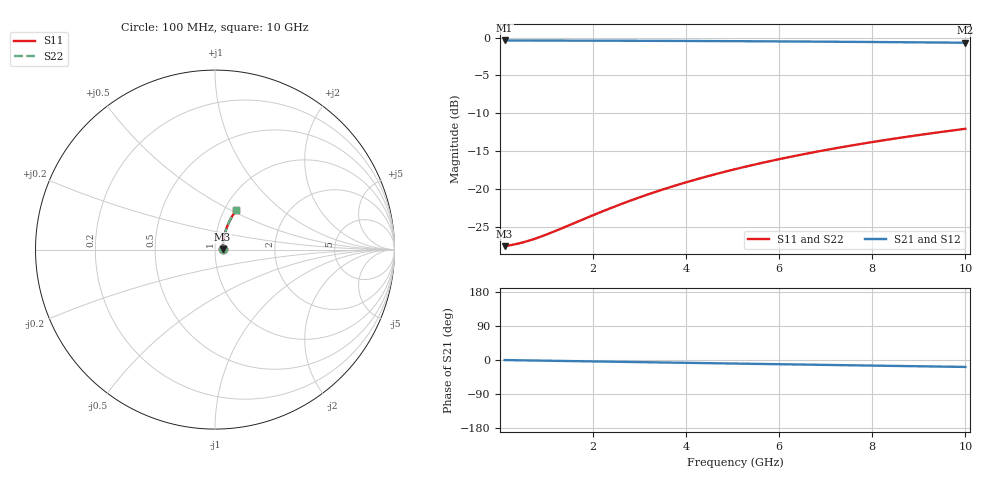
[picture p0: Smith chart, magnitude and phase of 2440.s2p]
# Hz S RI R 50.00
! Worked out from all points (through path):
!   100 points, 100 MHz to 10 GHz, reference 50 ohm
!   highest |S21| = -0.37 dB at 100 MHz (marker M1); lowest = -0.7 dB at 10 GHz (marker M2)
!   group delay of S21, straight-line fit = 5.09 ps
!   lowest |S11| = -27.6 dB at 100 MHz (marker M3), VSWR 1.09, Z = 54.4 + j0.264 ohm
!   |S11| at or under -10 dB: start of sweep to end of sweep
!   |S22| runs from -27.6 to -12.0 dB; largest |S21 - S12| = 0
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1e8  0.0418 0.00242  0.9582 -0.00313  0.9582 -0.00313  0.0418 0.00242
3e8  0.0424 0.00727  0.9576 -0.00937  0.9576 -0.00937  0.0424 0.00727
4e8  0.0426 0.00968  0.9574 -0.0125  0.9574 -0.0125  0.0426 0.00968
6e8  0.043 0.0145  0.957 -0.0187  0.957 -0.0187  0.043 0.0145
8e8  0.0434 0.0193  0.9566 -0.025  0.9566 -0.025  0.0434 0.0193
1.2e9  0.0443 0.029  0.9556 -0.0374  0.9556 -0.0374  0.0443 0.029
1.8e9  0.0461 0.0433  0.9538 -0.056  0.9538 -0.056  0.0461 0.0433
2.2e9  0.0475 0.0529  0.9523 -0.0683  0.9523 -0.0683  0.0475 0.0529
2.6e9  0.0492 0.0624  0.9506 -0.0806  0.9506 -0.0806  0.0492 0.0624
3e9  0.0511 0.0718  0.9487 -0.0929  0.9487 -0.0929  0.0511 0.0718
3.4e9  0.0532 0.0811  0.9465 -0.105  0.9465 -0.105  0.0532 0.0811
3.8e9  0.0555 0.0904  0.9441 -0.1171  0.9441 -0.1171  0.0555 0.0904
4.2e9  0.0581 0.0996  0.9414 -0.1292  0.9414 -0.1292  0.0581 0.0996
4.6e9  0.0609 0.1087  0.9386 -0.1411  0.9386 -0.1411  0.0609 0.1087
5.1e9  0.0647 0.12  0.9346 -0.1559  0.9346 -0.1559  0.0647 0.12
5.5e9  0.068 0.1289  0.9312 -0.1676  0.9312 -0.1676  0.068 0.1289
5.9e9  0.0715 0.1377  0.9276 -0.1792  0.9276 -0.1792  0.0715 0.1377
6.7e9  0.0791 0.1549  0.9197 -0.2021  0.9197 -0.2021  0.0791 0.1549
7.5e9  0.0875 0.1716  0.911 -0.2244  0.911 -0.2244  0.0875 0.1716
8.4e9  0.0979 0.1897  0.9002 -0.2489  0.9002 -0.2489  0.0979 0.1897
9.2e9  0.1079 0.2051  0.8898 -0.27  0.8898 -0.27  0.1079 0.2051
1e10  0.1186 0.2199  0.8788 -0.2905  0.8788 -0.2905  0.1186 0.2199
